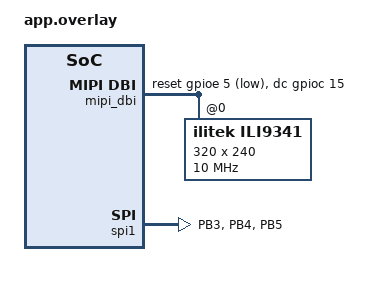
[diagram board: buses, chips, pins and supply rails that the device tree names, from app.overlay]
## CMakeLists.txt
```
# SPDX-License-Identifier: Apache-2.0

cmake_minimum_required(VERSION 3.20.0)
find_package(Zephyr REQUIRED HINTS $ENV{ZEPHYR_BASE})
project(ov7670)


target_sources(app PRIVATE src/main.c)
zephyr_include_directories(${ZEPHYR_BASE}/modules/lvgl/include)
```

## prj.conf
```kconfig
CONFIG_GPIO=y

CONFIG_SPI=y
CONFIG_DISPLAY=y
CONFIG_MIPI_DBI=y
CONFIG_ILI9341=y
CONFIG_DISPLAY_INIT_PRIORITY=80
CONFIG_DISPLAY_LOG_LEVEL_DBG=y
CONFIG_LOG=y

CONFIG_LV_Z_MEM_POOL_SIZE=16384
CONFIG_MAIN_STACK_SIZE=4096

CONFIG_DISPLAY_LOG_LEVEL_ERR=y


CONFIG_LVGL=y
CONFIG_LV_USE_LOG=y
CONFIG_LV_USE_LABEL=y
CONFIG_LV_USE_ARC=y
CONFIG_LV_USE_MONKEY=y
CONFIG_LV_FONT_UNSCII_16=y
CONFIG_LV_COLOR_16_SWAP=y
```

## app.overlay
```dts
#include <zephyr/dt-bindings/pinctrl/stm32-pinctrl.h>
#include <zephyr/dt-bindings/display/ili9xxx.h>

/ {
    chosen {
        zephyr,display = &ili9341;
    }; 

    /*LCD*/
    mipi_dbi {
        compatible = "zephyr,mipi-dbi-spi";
        status = "okay";
        spi-dev = <&spi1>;
        dc-gpios = <&gpioc 15 GPIO_ACTIVE_HIGH>; 
        reset-gpios = <&gpioe 5 GPIO_ACTIVE_LOW>; 
        #pinctrl-0 = <&display_dc &display_reset>;
        #pinctrl-names = "default";
        #address-cells = <1>;
        #size-cells = <0>;
        write-only;

        ili9341: ili9341@0 {
            compatible = "ilitek,ili9341";
            reg = <0>;
            mipi-max-frequency = <10000000>;
            pixel-format = <ILI9XXX_PIXEL_FORMAT_RGB565>;
            rotation = <0>;
            width = <320>;
            height = <240>;
        };
    };

}; 


/* Pinmux configuration for SPI1 */
&pinctrl {
    spi1_sck: spi1_sck {
        pinmux = <STM32_PINMUX('B', 3, AF5)>;
        bias-disable; /* No pull-up/pull-down */
        drive-push-pull;
    };
    spi1_miso: spi1_miso {
        pinmux = <STM32_PINMUX('B', 4, AF5)>;
        bias-disable;
        drive-push-pull;
    };
    spi1_mosi: spi1_mosi {
        pinmux = <STM32_PINMUX('B', 5, AF5)>;
        bias-disable;
        drive-push-pull;
    };
    /* Chip Select (CS) pin: PB6 */
    spi1_cs: spi1_cs {
        pinmux = <STM32_PINMUX('C', 13, GPIO)>;
        bias-disable;
        drive-push-pull;
    };
    /* Data/Command (DC) pin: PB7 */
    display_dc: display_dc {
        pinmux = <STM32_PINMUX('C', 15, GPIO)>; 
        bias-disable;
        drive-push-pull;
    };
    /* Reset pin: PB8 */
    display_reset: display_reset {
        pinmux = <STM32_PINMUX('E', 5, GPIO)>;
        bias-disable;
        drive-push-pull;
    };
};

/* SPI1 peripheral configuration */
&spi1 {
    status = "okay";
    pinctrl-0 = <&spi1_sck &spi1_miso &spi1_mosi>;
    pinctrl-names = "default";
    cs-gpios = <&gpioc 13 GPIO_ACTIVE_LOW>; 
   
};
```

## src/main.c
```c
/*
 * Copyright (c) 2016 Intel Corporation
 *
 * SPDX-License-Identifier: Apache-2.0
 */

#include <stdio.h>
#include <zephyr/kernel.h>
#include <zephyr/device.h>
#include <zephyr/drivers/gpio.h>
#include <zephyr/drivers/spi.h>
#include <zephyr/drivers/display.h>
#include <zephyr/logging/log.h>
#include <lvgl.h>


LOG_MODULE_REGISTER(main);



/* 1000 msec = 1 sec */
#define SLEEP_TIME_MS   1000

/* The devicetree node identifier for the "led0" alias. */
#define LED0_NODE DT_ALIAS(led3)

/* Display device from device tree */
#define DISPLAY_NODE DT_NODELABEL(ili9341)


/*
 * A build error on this line means your board is unsupported.
 * See the sample documentation for information on how to fix this.
 */
static const struct gpio_dt_spec led = GPIO_DT_SPEC_GET(LED0_NODE, gpios);
static const struct device *display_dev = DEVICE_DT_GET(DISPLAY_NODE);


int main(void)
{
	int ret;
	bool led_state = true;


	if (!gpio_is_ready_dt(&led)) {
		return 0;
	}

	ret = gpio_pin_configure_dt(&led, GPIO_OUTPUT_ACTIVE);
	if (ret < 0) {
		return 0;
	}

	const struct device *spi1 = DEVICE_DT_GET(DT_NODELABEL(spi1));
    if (!device_is_ready(spi1)) {
        printk("SPI1 device not ready\n");
        return 0;
    }
    printk("SPI1 initialized successfully\n");

	/* Initialize ILI9341 display */
    if (!device_is_ready(display_dev)) {
        printk("Display device not ready\n");
        return 0;
    }
	lv_obj_t *hello_world_label;


	hello_world_label = lv_label_create(lv_screen_active());

	lv_label_set_text(hello_world_label, "Zacck DIY CAM! \n Connect Camera to Proceed");
	lv_obj_align(hello_world_label, LV_ALIGN_CENTER, 0, 0);

	
	lv_timer_handler();

    /* Turn off display blanking */
    ret = display_blanking_off(display_dev);
    if (ret < 0) {
        printk("Failed to turn off display blanking: %d\n", ret);
        return 0;
    }







	while (1) {
		lv_timer_handler();
		ret = gpio_pin_toggle_dt(&led);
		if (ret < 0) {
			return 0;
		}

		led_state = !led_state;
		printf("LED state: %s\n", led_state ? "ON" : "OFF");
		k_msleep(SLEEP_TIME_MS);
	}
	return 0;
}
```
